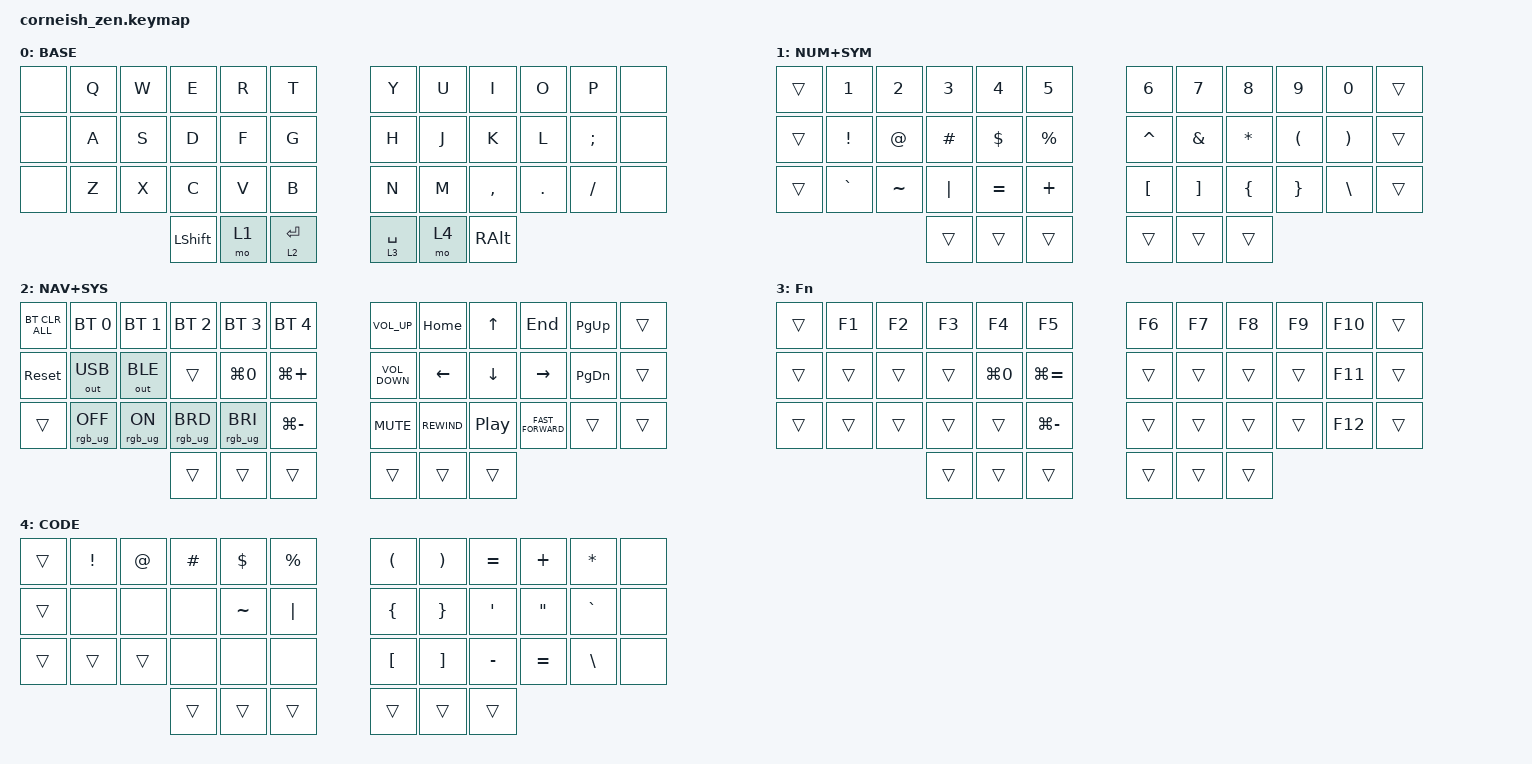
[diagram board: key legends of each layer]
/*
 * Copyright (c) 2020 The ZMK Contributors
 *
 * SPDX-License-Identifier: MIT
 */

#include <behaviors.dtsi>
#include <dt-bindings/zmk/bt.h>
#include <dt-bindings/zmk/keys.h>
#include <dt-bindings/zmk/outputs.h>
#include <dt-bindings/zmk/rgb.h>

/ {
    chosen {
        zmk,matrix_transform = &default_transform;

        // zmk,matrix_transform = &five_column_transform;
    };
};

/ {
    behaviors {
        td0: td0 {
            compatible = "zmk,behavior-tap-dance";
            label = "TD0";
            #binding-cells = <0>;
            bindings = <&kp LEFT_SHIFT>, <&kp CAPS>;
        };
    };

    combos {
        compatible = "zmk,combos";

        Tab {
            bindings = <&kp TAB>;
            key-positions = <3 4>;
        };

        Backspace {
            bindings = <&kp BACKSPACE>;
            key-positions = <7 8>;
        };

        CapsLock {
            bindings = <&kp CAPS>;
            key-positions = <17 18>;
        };

        Mute {
            bindings = <&kp K_MUTE>;
            key-positions = <5 6>;
        };

        shift-tab {
            bindings = <&kp LS(TAB)>;
            key-positions = <2 3>;
        };

        escape {
            bindings = <&kp ESCAPE>;
            key-positions = <1 2>;
        };

        control-right {
            bindings = <&kp RCTRL>;
            key-positions = <31 32>;
        };

        command-right {
            bindings = <&kp RIGHT_GUI>;
            key-positions = <19 20>;
        };

        Lock {
            bindings = <&kp LG(LC(Q))>;
            key-positions = <9 10>;
        };

        control-left {
            bindings = <&kp LCTRL>;
            key-positions = <27 28>;
        };

        command-left {
            bindings = <&kp LEFT_GUI>;
            key-positions = <15 16>;
        };

        screenshot-macos {
            bindings = <&kp LG(LS(NUMBER_4))>;
            key-positions = <25 26>;
        };

        Space {
            bindings = <&kp SPACE>;
            key-positions = <14 15 16>;
        };

        System-Reset {
            bindings = <&sys_reset>;
            key-positions = <1 5 38>;
        };
    };

    keymap {
        compatible = "zmk,keymap";

        DefaultLayer {
            display-name = "BASE";

            // --------------------------------------------------------------------------------
            // |  TAB |  Q  |  W  |  E  |  R  |  T  |   |  Y  |  U   |  I  |  O  |  P  | BKSP |
            // | CTRL |  A  |  S  |  D  |  F  |  G  |   |  H  |  J   |  K  |  L  |  ;  |  '   | 
            // | SHFT |  Z  |  X  |  C  |  V  |  B  |   |  N  |  M   |  ,  |  .  |  /  | ESC  |
            //                    | GUI | LWR | SPC |   | ENT | RSE  | ALT |

            bindings = <
&none  &kp Q  &kp W  &kp E           &kp R  &kp T          &kp Y        &kp U  &kp I      &kp O    &kp P     &none
&none  &kp A  &kp S  &kp D           &kp F  &kp G          &kp H        &kp J  &kp K      &kp L    &kp SEMI  &none
&none  &kp Z  &kp X  &kp C           &kp V  &kp B          &kp N        &kp M  &kp COMMA  &kp DOT  &kp FSLH  &none
                     &kp LEFT_SHIFT  &mo 1  &lt 2 ENTER    &lt 3 SPACE  &mo 4  &kp RALT
            >;
        };

        Number+Symbols {
            display-name = "NUM+SYM";

            // -----------------------------------------------------------------------------------------
            // |  TAB |  1  |  2  |  3  |  4  |  5  |   |  6  |  7  |  8  |  9  |  0  | BKSP |
            // | BTCLR| BT1 | BT2 | BT3 | BT4 | BT5 |   | LFT | DWN |  UP | RGT |     |      |
            // | SHFT |     |     |     |     |     |   |     |     |     |     |     |      |
            //                    | GUI |     | SPC |   | ENT |     | ALT |

            bindings = <
&trans  &kp N1           &kp N2       &kp N3    &kp N4      &kp N5         &kp N6            &kp N7             &kp N8          &kp N9                &kp N0                 &trans
&trans  &kp EXCLAMATION  &kp AT_SIGN  &kp HASH  &kp DOLLAR  &kp PERCENT    &kp CARET         &kp AMPERSAND      &kp ASTERISK    &kp LEFT_PARENTHESIS  &kp RIGHT_PARENTHESIS  &trans
&trans  &kp GRAVE        &kp TILDE    &kp PIPE  &kp EQUAL   &kp PLUS       &kp LEFT_BRACKET  &kp RIGHT_BRACKET  &kp LEFT_BRACE  &kp RIGHT_BRACE       &kp BACKSLASH          &trans
                                      &trans    &trans      &trans         &trans            &trans             &trans
            >;
        };

        Navigation+System {
            bindings = <
&bt BT_CLR_ALL  &bt BT_SEL 0     &bt BT_SEL 1    &bt BT_SEL 2     &bt BT_SEL 3     &bt BT_SEL 4     &kp C_VOLUME_UP    &kp HOME        &kp UP            &kp END             &kp PAGE_UP    &trans
&sys_reset      &out OUT_USB     &out OUT_BLE    &trans           &kp LG(N0)       &kp LG(PLUS)     &kp C_VOLUME_DOWN  &kp LEFT_ARROW  &kp DOWN          &kp RIGHT           &kp PAGE_DOWN  &trans
&trans          &rgb_ug RGB_OFF  &rgb_ug RGB_ON  &rgb_ug RGB_BRD  &rgb_ug RGB_BRI  &kp LG(MINUS)    &kp K_MUTE         &kp C_REWIND    &kp C_PLAY_PAUSE  &kp C_FAST_FORWARD  &trans         &trans
                                                 &trans           &trans           &trans           &trans             &trans          &trans
            >;

            label = "NAV+SYS";
        };

        Functions {
            display-name = "Fn";
            bindings = <
&trans  &kp F1  &kp F2  &kp F3  &kp F4            &kp F5           &kp F6  &kp F7  &kp F8  &kp F9  &kp F10  &trans
&trans  &trans  &trans  &trans  &kp LG(NUMBER_0)  &kp LG(EQUAL)    &trans  &trans  &trans  &trans  &kp F11  &trans
&trans  &trans  &trans  &trans  &trans            &kp LG(MINUS)    &trans  &trans  &trans  &trans  &kp F12  &trans
                        &trans  &trans            &trans           &trans  &trans  &trans
            >;
        };

        Coding {
            display-name = "CODE";

            // -----------------------------------------------------------------------------------------
            // |  TAB |  !  |  @  |  #  |  $  |  %  |   |  ^  |  &  |  *  |  (  |  )  | BKSP |
            // | CTRL |     |     |     |     |     |   |  -  |  =  |  [  |  ]  |  \  |  `   |
            // | SHFT |     |     |     |     |     |   |  _  |  +  |  {  |  }  | "|" |  ~   |
            //                    | GUI |     | SPC |   | ENT |     | ALT |

            bindings = <
&trans  &kp EXCL  &kp AT  &kp HASH  &kp DLLR   &kp PRCNT    &kp LEFT_PARENTHESIS  &kp RIGHT_PARENTHESIS  &kp EQUAL  &kp PLUS           &kp ASTRK      &none
&trans  &none     &none   &none     &kp TILDE  &kp PIPE     &kp LEFT_BRACE        &kp RIGHT_BRACE        &kp SQT    &kp DOUBLE_QUOTES  &kp GRAVE      &none
&trans  &trans    &trans  &none     &none      &none        &kp LEFT_BRACKET      &kp RIGHT_BRACKET      &kp MINUS  &kp EQUAL          &kp BACKSLASH  &none
                          &trans    &trans     &trans       &trans                &trans                 &trans
            >;
        };
    };
};
